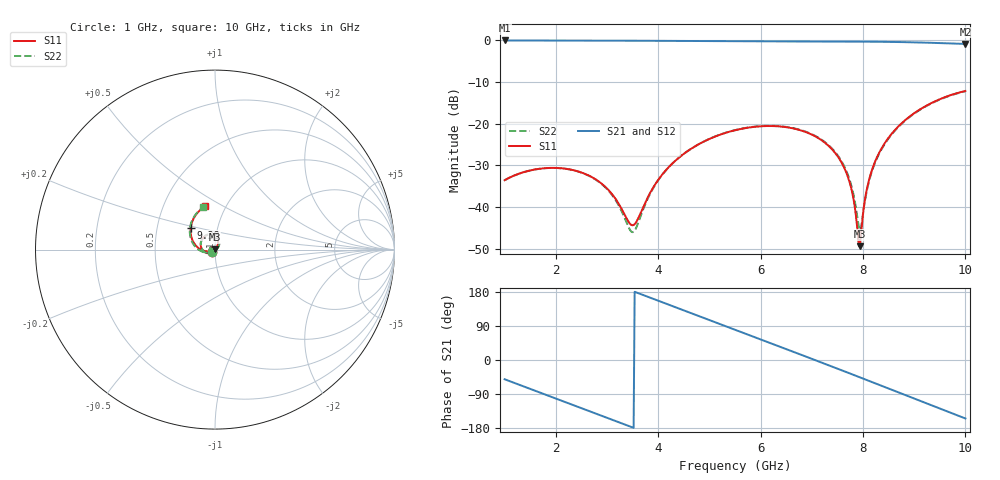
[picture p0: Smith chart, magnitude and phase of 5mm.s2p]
! Touchstone file exported from HFSS 2018.2.0
!  File:  C:/Users/10024/OneDrive - The University of Nottingham Ningbo China/Year 4/Final Year Project/HFSS project/Passive_Resonator_Antenna.aedt
!  Generated:  11:26:21 上午  3月 12, 2022
!  Design:  SMA_Thru
!  Project:  Passive_Resonator_Antenna
!  Setup:  Setup1
!  Solution:  Sweep
! Variables:
!  MW = 1.992mm
!  ThruL = 5mm
!  g = 0.2mm
!  subH = 0.8mm
!  subX = 20mm
!  subY = 15mm
!  tapW = 1.992mm
# GHZ S MA R 50.000000
! Modal data exported
! Port[1] = SMA_CONNECTOR1_1:1
! Port[2] = SMA_CONNECTOR2_1:1
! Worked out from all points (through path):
!   451 points, 1 GHz to 10 GHz, reference 50 ohm
!   highest |S21| = -0.01 dB at 1 GHz (marker M1); lowest = -0.9 dB at 10 GHz (marker M2)
!   group delay of S21, straight-line fit = 143 ps
!   lowest |S11| = -49.4 dB at 7.94 GHz (marker M3), VSWR 1.01, Z = 49.7 + j0.193 ohm
!   |S11| at or under -10 dB: start of sweep to end of sweep
!   |S22| runs from -46.1 to -12.2 dB; largest |S21 - S12| = 1.8e-14
!   S11 on the Smith chart (normalised r, x): 1 GHz: 0.97, -0.03; 9.38 GHz: 0.74, +0.19; 10 GHz: 0.80, +0.41
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1  0.02094 -141.7  0.9988 -50.8  0.9988 -50.8  0.02094 -139.8
! Gamma ! 0.0151858380091399 30.3716836111407 0.0151858380091605 30.3716836112125
! Port Impedance50 0 50 0
1.76  0.02908 -177.6  0.9972 -89.4  0.9972 -89.4  0.02908 -177.9
2.5  0.02591 149.2  0.9952 -127.0  0.9952 -127.0  0.02583 147.2
3.04  0.01568 132.1  0.9935 -154.5  0.9935 -154.5  0.0154 127.9
3.5  0.006015 177.0  0.9917 -178.0  0.9917 -178.0  0.00497 175.8
4  0.02113 -134.5  0.9891 156.5  0.9891 156.5  0.02091 -133.1
4.8  0.05697 -164.1  0.9836 115.7  0.9836 115.7  0.0571 -165.0
5.5  0.08336 162.7  0.9779 79.9  0.9779 79.9  0.08371 160.8
6.32  0.09312 122.3  0.9727 38.0  0.9727 38.0  0.09374 119.2
7  0.0739 88.4  0.9707 3.1  0.9707 3.1  0.07478 83.2
7.36  0.05181 70.9  0.97 -15.5  0.97 -15.5  0.05287 62.7
7.62  0.03071 59.7  0.9692 -29.0  0.9692 -29.0  0.03197 45.2
7.78  0.01579 57.0  0.9685 -37.4  0.9685 -37.4  0.01734 28.6
7.9  0.004539 84.0  0.9678 -43.7  0.9678 -43.7  0.006776 -10.5
7.94  0.003376 144.9  0.9675 -45.8  0.9675 -45.8  0.00521 -51.4
8.04  0.01245 -163.4  0.9666 -51.0  0.9666 -51.0  0.01203 -122.1
8.14  0.02369 -161.6  0.9656 -56.3  0.9656 -56.3  0.02285 -140.0
8.3  0.04275 -166.7  0.9636 -64.7  0.9636 -64.7  0.04167 -154.6
8.5  0.06785 -175.8  0.9603 -75.3  0.9603 -75.3  0.0666 -168.1
8.94  0.1256 161.6  0.9497 -98.6  0.9497 -98.6  0.1241 165.9
9.38  0.1822 137.8  0.9344 -121.8  0.9344 -121.8  0.1805 140.9
10  0.2467 102.9  0.9065 -154.3  0.9065 -154.3  0.2445 105.3
